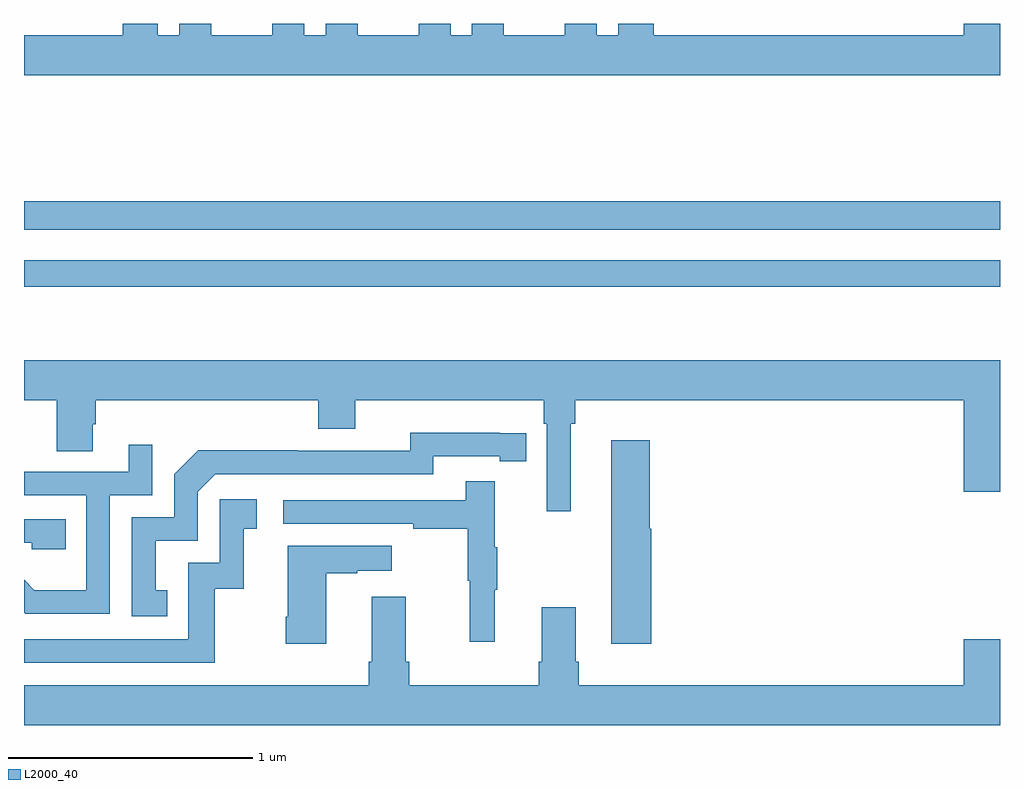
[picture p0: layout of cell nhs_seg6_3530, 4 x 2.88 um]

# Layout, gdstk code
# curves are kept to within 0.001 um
import gdstk
lib = gdstk.Library(unit=1e-6, precision=1e-09)
def R(c, l, rs):  # rectangles x0, y0, x1, y1
    for r in rs: c.add(gdstk.rectangle(r[:2], r[2:], *l))
def P(c, l, *ps):  # polygons
    for p in ps: c.add(gdstk.Polygon(p, *l))
L2000_40 = (2000, 40)

nhs_seg6_3530 = lib.new_cell('nhs_seg6_3530')
R(nhs_seg6_3530, L2000_40, [(317,994.422,321,994.53), (317,994.656,321,994.772)])
P(nhs_seg6_3530, L2000_40, [(321,995.5),(320.852,995.5),(320.852,995.452),(319.58,995.452),(319.58,995.5),(319.436,995.5),(319.436,995.452),(319.348,995.452),(319.348,995.5),(319.217,995.5),(319.217,995.452),(318.967,995.452),(318.967,995.5),(318.836,995.5),(318.836,995.452),(318.748,995.452),(318.748,995.5),(318.617,995.5),(318.617,995.452),(318.367,995.452),(318.367,995.5),(318.236,995.5),(318.236,995.452),(318.148,995.452),(318.148,995.5),(318.017,995.5),(318.017,995.452),(317.767,995.452),(317.767,995.5),(317.636,995.5),(317.636,995.452),(317.548,995.452),(317.548,995.5),(317.405,995.5),(317.405,995.452),(317,995.452),(317,995.288),(321,995.288)],
  [(319.24,993.86),(319.259,993.86),(319.259,993.956),(320.852,993.956),(320.852,993.582),(321,993.582),(321,994.12),(317,994.12),(317,993.956),(317.134,993.956),(317.134,993.748),(317.281,993.748),(317.281,993.858),(317.294,993.858),(317.294,993.956),(318.206,993.956),(318.206,993.839),(318.358,993.839),(318.358,993.956),(319.13,993.956),(319.13,993.86),(319.143,993.86),(319.143,993.501),(319.24,993.501)],
  [(317.588,993.177),(317.539,993.177),(317.539,993.381),(317.712,993.381),(317.712,993.582),(317.784,993.654),(318.678,993.654),(318.678,993.726),(318.95,993.726),(318.95,993.706),(319.058,993.706),(319.058,993.822),(318.582,993.823),(318.582,993.75),(318.122,993.75),(318.122,993.752),(317.714,993.752),(317.616,993.654),(317.616,993.477),(317.442,993.477),(317.442,993.072),(317.588,993.072)],
  [(319.57,993.429),(319.565,993.429),(319.565,993.793),(319.406,993.793),(319.406,992.958),(319.57,992.958)],
  [(317.352,993.567),(317.526,993.567),(317.526,993.775),(317.429,993.775),(317.429,993.663),(317,993.663),(317,993.567),(317.256,993.567),(317.256,993.178),(317.042,993.178),(317,993.22),(317,993.087),(317.006,993.081),(317.352,993.081)],
  [(318.929,993.179),(318.94,993.179),(318.94,993.353),(318.929,993.353),(318.929,993.625),(318.811,993.625),(318.811,993.546),(318.063,993.546),(318.063,993.45),(318.595,993.45),(318.595,993.43),(318.819,993.43),(318.819,993.216),(318.826,993.216),(318.826,992.967),(318.929,992.967)],
  [(317.782,993.183),(317.9,993.183),(317.9,993.429),(317.953,993.429),(317.953,993.55),(317.802,993.55),(317.802,993.291),(317.673,993.291),(317.673,992.976),(317,992.976),(317,992.88),(317.782,992.88)],
  [(317.171,993.468),(317,993.468),(317,993.372),(317.031,993.372),(317.031,993.345),(317.171,993.345)],
  [(318.238,993.247),(318.365,993.247),(318.365,993.257),(318.508,993.257),(318.508,993.361),(318.08,993.361),(318.08,993.07),(318.073,993.07),(318.073,992.958),(318.238,992.958)],
  [(321,992.977),(320.852,992.977),(320.852,992.788),(319.274,992.788),(319.274,992.884),(319.261,992.884),(319.261,993.109),(319.121,993.109),(319.121,992.884),(319.109,992.884),(319.109,992.788),(318.578,992.788),(318.578,992.884),(318.565,992.884),(318.565,993.151),(318.425,993.151),(318.425,992.884),(318.413,992.884),(318.413,992.788),(317,992.788),(317,992.624),(321,992.624)])

lib.write_gds('nhs_seg6_3530.gds')
